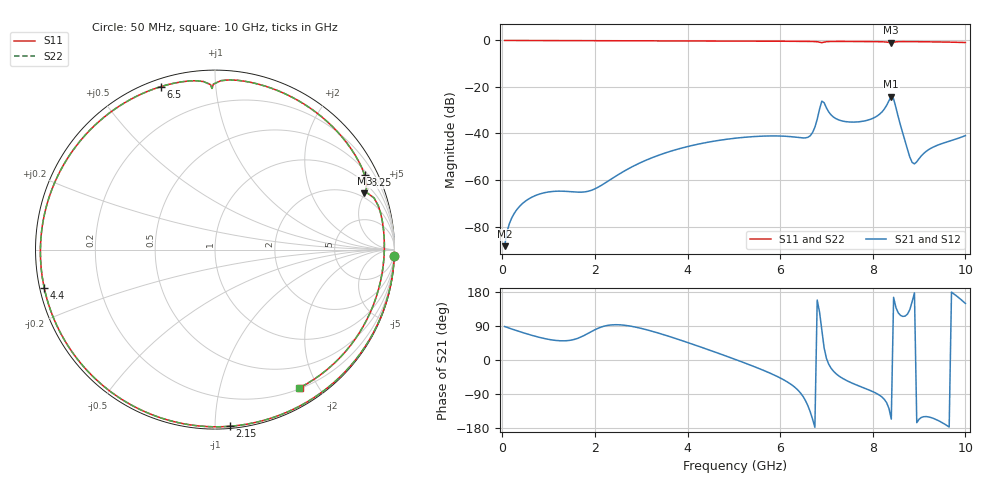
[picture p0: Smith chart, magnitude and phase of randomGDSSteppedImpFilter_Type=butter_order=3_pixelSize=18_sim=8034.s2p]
! freq	dB(S11)	phase(S11)	dB(S12)	phase(S12)
!  dB(S21)	phase(S21)	dB(S22)	phase(S22)
!S-par simulation data
#  GHz  S  DB  R 50
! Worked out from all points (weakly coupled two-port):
!   200 points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, 50 MHz to 10 GHz, reference 50 ohm
!   highest |S21| = -24.13 dB at 8.4 GHz (marker M1); lowest = -88.5 dB at 50 MHz (marker M2)
!   lowest |S11| = -1.0 dB at 8.4 GHz (marker M3), VSWR 17.19, Z = 82.1 + j248 ohm
!   |S11| at or under -10 dB: nowhere
!   |S22| runs from -1.0 to 0.0 dB; largest |S21 - S12| = 0
!   S11 on the Smith chart (normalised r, x): 50 MHz: 0, -55; 2.15 GHz: 0.01, -1.09; 4.4 GHz: 0.01, -0.11; 6.5 GHz: 0.03, +0.72; 8.25 GHz: 0.66, +4.14; 10 GHz: 0.21, -1.77
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0.05  -0.00 -2.1  -88.46 88.4  -88.46 88.4  -0.00 -2.1
0.7  -0.03 -28.6  -66.81 63.0  -66.81 63.0  -0.03 -28.6
1.75  -0.09 -70.0  -65.18 63.6  -65.18 63.6  -0.09 -70.0
2.15  -0.11 -85.2  -62.17 87.5  -62.17 87.5  -0.11 -85.2
3.4  -0.16 -131.0  -49.19 70.0  -49.19 70.0  -0.16 -131.0
4.4  -0.22 -167.3  -43.91 29.3  -43.91 29.3  -0.22 -167.3
5.05  -0.26 168.3  -41.99 0.7  -41.99 0.7  -0.26 168.3
5.75  -0.31 140.5  -41.07 -33.0  -41.07 -33.0  -0.31 140.5
6.5  -0.38 108.3  -41.91 -97.3  -41.91 -97.3  -0.38 108.3
6.7  -0.44 98.9  -39.62 -156.1  -39.62 -156.1  -0.44 98.9
6.9  -0.94 91.1  -26.08 79.5  -26.08 79.5  -0.93 91.1
7.15  -0.42 80.2  -32.91 -29.4  -32.91 -29.4  -0.42 80.2
7.45  -0.43 65.6  -34.99 -55.1  -34.99 -55.1  -0.43 65.6
7.95  -0.48 41.4  -33.89 -80.7  -33.89 -80.7  -0.48 41.4
8.25  -0.62 26.5  -29.49 -103.9  -29.49 -103.9  -0.62 26.5
8.35  -0.83 21.7  -25.88 -128.0  -25.88 -128.0  -0.84 21.7
8.4  -1.01 20.7  -24.13 -156.0  -24.13 -156.0  -1.02 20.7
8.45  -0.86 20.4  -25.13 165.4  -25.13 165.4  -0.87 20.4
8.8  -0.50 1.9  -50.17 133.0  -50.17 133.0  -0.50 1.9
8.9  -0.52 -3.1  -53.07 177.0  -53.07 177.0  -0.52 -3.0
9.25  -0.59 -20.1  -46.42 -151.6  -46.42 -151.6  -0.59 -20.1
10  -0.89 -58.4  -40.93 149.3  -40.93 149.3  -0.90 -58.7
